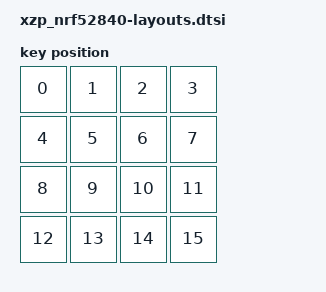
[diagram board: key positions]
// See https://zmk.dev/docs/development/hardware-integration/physical-layouts
// for how to configure this.

#include <physical_layouts.dtsi>

/ {
    default_layout: default_layout {
        compatible = "zmk,physical-layout";
        display-name = "Default Layout";
        transform = <&default_transform>;
        kscan = <&kscan>;

        // 4x4 matrix: 16 keys, 100x100 each.
        keys  //                     w   h    x    y     rot    rx    ry
            = <&key_physical_attrs 100 100    0    0       0     0     0>
            , <&key_physical_attrs 100 100  100    0       0     0     0>
            , <&key_physical_attrs 100 100  200    0       0     0     0>
            , <&key_physical_attrs 100 100  300    0       0     0     0>
            , <&key_physical_attrs 100 100    0  100       0     0     0>
            , <&key_physical_attrs 100 100  100  100       0     0     0>
            , <&key_physical_attrs 100 100  200  100       0     0     0>
            , <&key_physical_attrs 100 100  300  100       0     0     0>
            , <&key_physical_attrs 100 100    0  200       0     0     0>
            , <&key_physical_attrs 100 100  100  200       0     0     0>
            , <&key_physical_attrs 100 100  200  200       0     0     0>
            , <&key_physical_attrs 100 100  300  200       0     0     0>
            , <&key_physical_attrs 100 100    0  300       0     0     0>
            , <&key_physical_attrs 100 100  100  300       0     0     0>
            , <&key_physical_attrs 100 100  200  300       0     0     0>
            , <&key_physical_attrs 100 100  300  300       0     0     0>
            ;
    };
};
